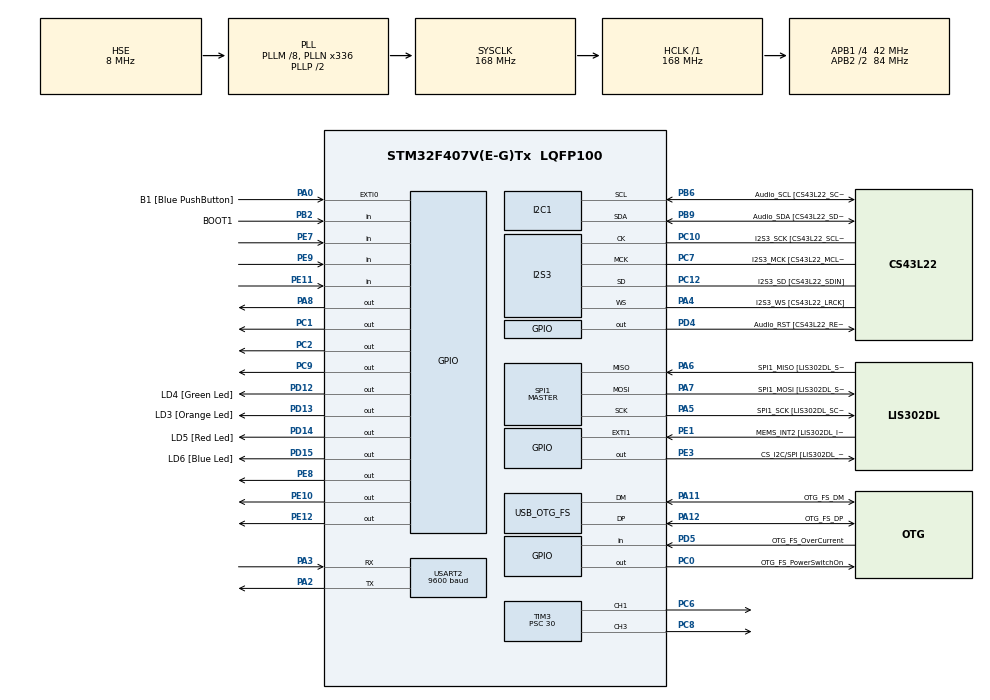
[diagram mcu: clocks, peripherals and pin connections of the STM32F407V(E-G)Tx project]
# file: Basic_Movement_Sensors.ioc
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I2S3.AudioFreq-Half_Duplex_Master=I2S_AUDIOFREQ_96K
I2S3.ErrorAudioFreq=-2.34 %
I2S3.ErrorAudioFreq-Half_Duplex_Master=0.8 %
I2S3.FullDuplexMode=I2S_FULLDUPLEXMODE_DISABLE
I2S3.Instance=SPI$Index
I2S3.RealAudioFreq=93.75 KHz
I2S3.RealAudioFreq-Half_Duplex_Master=96.774 KHz
I2S3.VirtualMode=I2S_MODE_MASTER
Mcu.Family=STM32F4
Mcu.Name=STM32F407V(E-G)Tx
Mcu.Package=LQFP100
NVIC.OTG_FS_IRQn=true\:0\:0\:false\:false\:true\:true\:true\:true
NVIC.PriorityGroup=NVIC_PRIORITYGROUP_0
NVIC.USART2_IRQn=true\:0\:0\:false\:false\:true\:true\:true\:true
PA0-WKUP.GPIO_Label=B1 [Blue PushButton]
PA0-WKUP.GPIO_ModeDefaultEXTI=GPIO_MODE_EVT_RISING
PA0-WKUP.GPIO_PuPd=GPIO_NOPULL
PA0-WKUP.Signal=GPXTI0
PA10.GPIO_Label=OTG_FS_ID
PA10.GPIO_Mode=GPIO_MODE_AF_PP
PA10.GPIO_PuPd=GPIO_NOPULL
PA10.GPIO_Speed=GPIO_SPEED_FREQ_LOW
PA10.Signal=USB_OTG_FS_ID
PA11.GPIO_Label=OTG_FS_DM
PA11.GPIO_Mode=GPIO_MODE_AF_PP
PA11.GPIO_PuPd=GPIO_NOPULL
PA11.GPIO_Speed=GPIO_SPEED_FREQ_LOW
PA11.Mode=Device_Only
PA11.Signal=USB_OTG_FS_DM
PA12.GPIO_Label=OTG_FS_DP
PA12.GPIO_Mode=GPIO_MODE_AF_PP
PA12.GPIO_PuPd=GPIO_NOPULL
PA12.GPIO_Speed=GPIO_SPEED_FREQ_LOW
PA12.Mode=Device_Only
PA12.Signal=USB_OTG_FS_DP
PA13.GPIO_Label=SWDIO
PA13.Mode=Serial_Wire
PA13.Signal=SYS_JTMS-SWDIO
PA14.GPIO_Label=SWCLK
PA14.Mode=Serial_Wire
PA14.Signal=SYS_JTCK-SWCLK
PA2.Mode=Asynchronous
PA2.Signal=USART2_TX
PA3.Mode=Asynchronous
PA3.Signal=USART2_RX
PA4.GPIO_Label=I2S3_WS [CS43L22_LRCK]
PA4.GPIO_Mode=GPIO_MODE_AF_PP
PA4.GPIO_PuPd=GPIO_NOPULL
PA4.GPIO_Speed=GPIO_SPEED_FREQ_LOW
PA4.Mode=Half_Duplex_Master
PA4.Signal=I2S3_WS
PA5.GPIO_Label=SPI1_SCK [LIS302DL_SCL/SPC]
PA5.GPIO_Mode=GPIO_MODE_AF_PP
PA5.GPIO_PuPd=GPIO_NOPULL
PA5.GPIO_Speed=GPIO_SPEED_FREQ_LOW
PA5.Mode=Full_Duplex_Master
PA5.Signal=SPI1_SCK
PA6.GPIO_Label=SPI1_MISO [LIS302DL_SDO]
PA6.GPIO_Mode=GPIO_MODE_AF_PP
PA6.GPIO_PuPd=GPIO_NOPULL
PA6.GPIO_Speed=GPIO_SPEED_FREQ_LOW
PA6.Mode=Full_Duplex_Master
PA6.Signal=SPI1_MISO
PA7.GPIO_Label=SPI1_MOSI [LIS302DL_SDA/SDI/SDO]
PA7.GPIO_Mode=GPIO_MODE_AF_PP
PA7.GPIO_PuPd=GPIO_NOPULL
PA7.GPIO_Speed=GPIO_SPEED_FREQ_LOW
PA7.Mode=Full_Duplex_Master
PA7.Signal=SPI1_MOSI
PA8.Signal=GPIO_Output
PA9.GPIO_Label=VBUS_FS
PA9.GPIO_Mode=GPIO_MODE_INPUT
PA9.GPIO_PuPd=GPIO_NOPULL
PA9.Signal=USB_OTG_FS_VBUS
PB10.GPIO_Label=CLK_IN [MP45DT02_CLK]
PB10.GPIO_Mode=GPIO_MODE_AF_PP
PB10.GPIO_PuPd=GPIO_NOPULL
PB10.GPIO_Speed=GPIO_SPEED_FREQ_LOW
PB10.Signal=I2S2_CK
PB2.GPIO_Label=BOOT1
PB2.GPIO_Mode=GPIO_MODE_INPUT
PB2.GPIO_PuPd=GPIO_NOPULL
PB2.Signal=GPIO_Input
PB3.GPIO_Label=SWO
PB3.Signal=SYS_JTDO-SWO
PB6.GPIO_Label=Audio_SCL [CS43L22_SCL]
PB6.GPIO_Mode=GPIO_MODE_AF_OD
PB6.GPIO_Pu=GPIO_PULLUP
PB6.GPIO_PuPd=GPIO_NOPULL
PB6.GPIO_Speed=GPIO_SPEED_FREQ_LOW
PB6.Mode=I2C
PB6.Signal=I2C1_SCL
PB9.GPIO_Label=Audio_SDA [CS43L22_SDA]
PB9.GPIO_Mode=GPIO_MODE_AF_OD
PB9.GPIO_Pu=GPIO_PULLUP
PB9.GPIO_PuPd=GPIO_NOPULL
PB9.GPIO_Speed=GPIO_SPEED_FREQ_LOW
PB9.Mode=I2C
PB9.Signal=I2C1_SDA
PC0.GPIO_Label=OTG_FS_PowerSwitchOn
PC0.GPIO_PuPd=GPIO_NOPULL
PC0.GPIO_Speed=GPIO_SPEED_FREQ_LOW
PC0.PinState=GPIO_PIN_SET
PC0.Signal=GPIO_Output
PC1.Signal=GPIO_Output
PC10.GPIO_Label=I2S3_SCK [CS43L22_SCLK]
PC10.GPIO_Mode=GPIO_MODE_AF_PP
PC10.GPIO_PuPd=GPIO_NOPULL
PC10.GPIO_Speed=GPIO_SPEED_FREQ_LOW
PC10.Mode=Half_Duplex_Master
PC10.Signal=I2S3_CK
PC12.GPIO_Label=I2S3_SD [CS43L22_SDIN]
PC12.GPIO_Mode=GPIO_MODE_AF_PP
PC12.GPIO_PuPd=GPIO_NOPULL
PC12.GPIO_Speed=GPIO_SPEED_FREQ_LOW
PC12.Mode=Half_Duplex_Master
PC12.Signal=I2S3_SD
PC14-OSC32_IN.GPIO_Label=PC14-OSC32_IN
PC14-OSC32_IN.Mode=LSE-External-Oscillator
PC14-OSC32_IN.Signal=RCC_OSC32_IN
PC15-OSC32_OUT.GPIO_Label=PC15-OSC32_OUT
PC15-OSC32_OUT.Mode=LSE-External-Oscillator
PC15-OSC32_OUT.Signal=RCC_OSC32_OUT
PC2.Signal=GPIO_Output
PC3.GPIO_Label=PDM_OUT [MP45DT02_DOUT]
PC3.GPIO_Mode=GPIO_MODE_AF_PP
PC3.GPIO_PuPd=GPIO_NOPULL
PC3.GPIO_Speed=GPIO_SPEED_FREQ_LOW
PC3.Signal=I2S2_SD
PC6.Signal=S_TIM3_CH1
PC7.GPIO_Label=I2S3_MCK [CS43L22_MCLK]
PC7.GPIO_Mode=GPIO_MODE_AF_PP
PC7.GPIO_PuPd=GPIO_NOPULL
PC7.GPIO_Speed=GPIO_SPEED_FREQ_LOW
PC7.Mode=Master_Clock_Activated
PC7.Signal=I2S3_MCK
PC8.Signal=S_TIM3_CH3
PC9.Signal=GPIO_Output
PD12.GPIO_Label=LD4 [Green Led]
PD12.GPIO_PuPd=GPIO_NOPULL
PD12.GPIO_Speed=GPIO_SPEED_FREQ_LOW
PD12.Signal=GPIO_Output
PD13.GPIO_Label=LD3 [Orange Led]
PD13.GPIO_PuPd=GPIO_NOPULL
PD13.GPIO_Speed=GPIO_SPEED_FREQ_LOW
PD13.Signal=GPIO_Output
PD14.GPIO_Label=LD5 [Red Led]
PD14.GPIO_PuPd=GPIO_NOPULL
PD14.GPIO_Speed=GPIO_SPEED_FREQ_LOW
PD14.Signal=GPIO_Output
PD15.GPIO_Label=LD6 [Blue Led]
PD15.GPIO_PuPd=GPIO_NOPULL
PD15.GPIO_Speed=GPIO_SPEED_FREQ_LOW
PD15.Signal=GPIO_Output
PD4.GPIO_Label=Audio_RST [CS43L22_RESET]
PD4.GPIO_PuPd=GPIO_NOPULL
PD4.GPIO_Speed=GPIO_SPEED_FREQ_LOW
PD4.Signal=GPIO_Output
PD5.GPIO_Label=OTG_FS_OverCurrent
PD5.GPIO_Mode=GPIO_MODE_INPUT
PD5.GPIO_PuPd=GPIO_NOPULL
PD5.Signal=GPIO_Input
PE1.GPIO_Label=MEMS_INT2 [LIS302DL_INT2]
PE1.GPIO_ModeDefaultEXTI=GPIO_MODE_EVT_RISING
PE1.GPIO_PuPd=GPIO_NOPULL
PE1.Signal=GPXTI1
PE10.Signal=GPIO_Output
PE11.Signal=GPIO_Input
PE12.Signal=GPIO_Output
PE3.GPIO_Label=CS_I2C/SPI [LIS302DL_CS_I2C/SPI]
PE3.GPIO_PuPd=GPIO_NOPULL
PE3.GPIO_Speed=GPIO_SPEED_FREQ_LOW
PE3.Signal=GPIO_Output
PE7.Signal=GPIO_Input
PE8.Signal=GPIO_Output
PE9.Signal=GPIO_Input
PH0-OSC_IN.GPIO_Label=PH0-OSC_IN
PH0-OSC_IN.Mode=HSE-External-Oscillator
PH0-OSC_IN.Signal=RCC_OSC_IN
PH1-OSC_OUT.GPIO_Label=PH1-OSC_OUT
PH1-OSC_OUT.Mode=HSE-External-Oscillator
PH1-OSC_OUT.Signal=RCC_OSC_OUT
ProjectManager.HeapSize=0x600
ProjectManager.StackSize=0x400
ProjectManager.TargetToolchain=STM32CubeIDE
RCC.48MHZClocksFreq_Value=48000000
RCC.AHBFreq_Value=168000000
RCC.APB1CLKDivider=RCC_HCLK_DIV4
RCC.APB1Freq_Value=42000000
RCC.APB1TimFreq_Value=84000000
RCC.APB2CLKDivider=RCC_HCLK_DIV2
RCC.APB2Freq_Value=84000000
RCC.APB2TimFreq_Value=168000000
RCC.CortexFreq_Value=168000000
RCC.HCLKFreq_Value=168000000
RCC.HSE_VALUE=8000000
RCC.HSI_VALUE=16000000
RCC.PLLM=8
RCC.PLLN=336
RCC.PLLQ=7
RCC.SYSCLKFreq_VALUE=168000000
RCC.SYSCLKSource=RCC_SYSCLKSOURCE_PLLCLK
RCC.VCOOutputFreq_Value=336000000
SH.S_TIM3_CH1.0=TIM3_CH1,PWM Generation1 CH1
SH.S_TIM3_CH3.0=TIM3_CH3,PWM Generation3 CH3
SPI1.BaudRatePrescaler-Full_Duplex_Master=SPI_BAUDRATEPRESCALER_2
SPI1.CalculateBaudRate-Full_Duplex_Master=42.0 MBits/s
SPI1.Direction=SPI_DIRECTION_2LINES
SPI1.Mode=SPI_MODE_MASTER
SPI1.Mode-Full_Duplex_Master=SPI_MODE_MASTER
SPI1.VirtualType=VM_MASTER
TIM1.Prescaler=83
TIM3.Channel-PWM\ Generation1\ CH1=TIM_CHANNEL_1
TIM3.Channel-PWM\ Generation3\ CH3=TIM_CHANNEL_3
TIM3.Period=999
TIM3.Prescaler=30
USART2.BaudRate=9600
USART2.VirtualMode=VM_ASYNC
USB_DEVICE.CLASS_NAME_FS=CDC
USB_DEVICE.VirtualMode-CDC_FS=Cdc
USB_DEVICE.VirtualModeFS=Cdc_FS
USB_OTG_FS.VirtualMode=Device_Only
VP_TIM1_VS_ClockSourceINT.Mode=Internal
VP_TIM3_VS_ClockSourceINT.Mode=Internal
VP_USB_DEVICE_VS_USB_DEVICE_CDC_FS.Mode=CDC_FS
board=STM32F407G-DISC1

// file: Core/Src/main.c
/* USER CODE BEGIN Header */
/**
  ******************************************************************************
  * @file           : main.c
  * @brief          : Main program body
  ******************************************************************************
  * @attention
  *
  * Copyright (c) 2025 STMicroelectronics.
  * All rights reserved.
  *
  * This software is licensed under terms that can be found in the LICENSE file
  * in the root directory of this software component.
  * If no LICENSE file comes with this software, it is provided AS-IS.
  *
  ******************************************************************************
  */
/* USER CODE END Header */
#include "main.h"
#include "usb_device.h"

/* USER CODE BEGIN Includes */
#include "usbd_cdc_if.h"
#include <stdio.h>
#include <stdint.h>
#include <string.h>
/* USER CODE END Includes */

/* USER CODE BEGIN PD */
#define labMaxLn 101
#define labMaxCol 101
/* USER CODE END PD */

I2C_HandleTypeDef hi2c1;

I2S_HandleTypeDef hi2s3;

SPI_HandleTypeDef hspi1;

TIM_HandleTypeDef htim1;
TIM_HandleTypeDef htim3;

UART_HandleTypeDef huart2;

/* USER CODE BEGIN PV */
uint8_t rxData;
uint8_t labirynthMatrix[labMaxLn][labMaxCol] = {0};
uint8_t currX = 50, currY = 50;
uint8_t currHeading = 0; //0 = north, 1 = east, 2 = south, 3 = west

#define TRIG_PIN_1 GPIO_PIN_8
#define TRIG_PORT_1 GPIOE
#define ECHO_PIN_1 GPIO_PIN_7
#define ECHO_PORT_1 GPIOE
#define TRIG_PIN_2 GPIO_PIN_10
#define TRIG_PORT_2 GPIOE
#define ECHO_PIN_2 GPIO_PIN_9
#define ECHO_PORT_2 GPIOE
#define TRIG_PIN_3 GPIO_PIN_12
#define TRIG_PORT_3 GPIOE
#define ECHO_PIN_3 GPIO_PIN_11
#define ECHO_PORT_3 GPIOE

uint32_t giveDistSensorFront(){
	uint32_t pMillis;
	uint32_t Value1_Sensor1 = 0;
	uint32_t Value2_Sensor1 = 0;
	uint16_t Distance_Sensor1  = 0; // cm

	HAL_GPIO_WritePin(TRIG_PORT_1, TRIG_PIN_1, GPIO_PIN_SET);  // pull the TRIG_1 pin HIGH
	__HAL_TIM_SET_COUNTER(&htim1, 0);
	while (__HAL_TIM_GET_COUNTER (&htim1) < 40);  // wait for 40 us
	HAL_GPIO_WritePin(TRIG_PORT_1, TRIG_PIN_1, GPIO_PIN_RESET);  // pull the TRIG_1 pin low
	pMillis = HAL_GetTick(); // used this to avoid infinite while loop  (for timeout)
	// wait for the echo pin to go high
	while (!(HAL_GPIO_ReadPin (ECHO_PORT_1, ECHO_PIN_1)) && pMillis + 100 >  HAL_GetTick());
	Value1_Sensor1 = __HAL_TIM_GET_COUNTER (&htim1);

	pMillis = HAL_GetTick(); // used this to avoid infinite while loop (for timeout)
	// wait for the echo pin to go low
	while ((HAL_GPIO_ReadPin (ECHO_PORT_1, ECHO_PIN_1)) && pMillis + 500 > HAL_GetTick());
	Value2_Sensor1 = __HAL_TIM_GET_COUNTER (&htim1);
	Distance_Sensor1 = (Value2_Sensor1 - Value1_Sensor1) * 0.034/2;

	return Distance_Sensor1;
}
uint32_t giveDistSensorLeft(){
	uint32_t pMillis;
	uint32_t Value1_Sensor2 = 0;
	uint32_t Value2_Sensor2 = 0;
	uint16_t Distance_Sensor2  = 0;  // cm

	HAL_GPIO_WritePin(TRIG_PORT_2, TRIG_PIN_2, GPIO_PIN_SET);  // pull the TRIG_1 pin HIGH
	__HAL_TIM_SET_COUNTER(&htim1, 0);
	while (__HAL_TIM_GET_COUNTER (&htim1) < 40);  // wait for 40 us
	HAL_GPIO_WritePin(TRIG_PORT_2, TRIG_PIN_2, GPIO_PIN_RESET);  // pull the TRIG_1 pin low
	pMillis = HAL_GetTick(); // used this to avoid infinite while loop  (for timeout)
	// wait for the echo pin to go high
	while (!(HAL_GPIO_ReadPin (ECHO_PORT_2, ECHO_PIN_2)) && pMillis + 50 >  HAL_GetTick());
	Value1_Sensor2 = __HAL_TIM_GET_COUNTER (&htim1);
	pMillis = HAL_GetTick(); // used this to avoid infinite while loop (for timeout)
	// wait for the echo pin to go low
	while ((HAL_GPIO_ReadPin (ECHO_PORT_2, ECHO_PIN_2)) && pMillis + 200 > HAL_GetTick());
	Value2_Sensor2 = __HAL_TIM_GET_COUNTER (&htim1);
	Distance_Sensor2 = (Value2_Sensor2 - Value1_Sensor2) * 0.034/2;

	return Distance_Sensor2;
}
uint32_t giveDistSensorRight(){
	uint32_t pMillis;
	uint32_t Value1_Sensor3 = 0;
	uint32_t Value2_Sensor3 = 0;
	uint16_t Distance_Sensor3  = 0;  // cm
	HAL_GPIO_WritePin(TRIG_PORT_3, TRIG_PIN_3, GPIO_PIN_SET);  // pull the TRIG_1 pin HIGH
	__HAL_TIM_SET_COUNTER(&htim1, 0);
	while (__HAL_TIM_GET_COUNTER (&htim1) < 40);  // wait for 40 us
	HAL_GPIO_WritePin(TRIG_PORT_3, TRIG_PIN_3, GPIO_PIN_RESET);  // pull the TRIG_1 pin low
	pMillis = HAL_GetTick(); // used this to avoid infinite while loop  (for timeout)
	// wait for the echo pin to go high
	while (!(HAL_GPIO_ReadPin (ECHO_PORT_3, ECHO_PIN_3)) && pMillis + 50 >  HAL_GetTick());
	Value1_Sensor3 = __HAL_TIM_GET_COUNTER (&htim1);

	pMillis = HAL_GetTick(); // used this to avoid infinite while loop (for timeout)
	// wait for the echo pin to go low
	while ((HAL_GPIO_ReadPin (ECHO_PORT_3, ECHO_PIN_3)) && pMillis + 200 > HAL_GetTick());
	Value2_Sensor3 = __HAL_TIM_GET_COUNTER (&htim1);
	Distance_Sensor3 = (Value2_Sensor3 - Value1_Sensor3) * 0.034/2;

	return Distance_Sensor3;
}
void printMatrix(){
	//HAL_UART_Transmit(&huart2, (uint8_t *)"Now printing file\r\n", 19, 100);
	uint8_t i, j;
	uint8_t str[labMaxCol + 2];

	for(i = 0; i < labMaxLn; i++){
		//HAL_UART_Transmit(&huart2, (uint8_t *)"here\r\n", 6, 100);
		for(j = 0; j < labMaxCol; j++)
			str[j] = labirynthMatrix[i][j] + '0';
		str[j] = '\n';
		str[j + 1] = '\0';
		//labirynthMatrix[i][labMaxCol - 1] = '\0';
		HAL_UART_Transmit(&huart2, (uint8_t *)str, strlen(str), 100);
//		for(j = 0; j < labMaxCol; j++){
//			HAL_UART_Transmit(&huart2, (uint8_t *)&(labirynthMatrix[i][j]), 1, 100);
//			fputc(labirynthMatrix[i][j], input);
//		}
//		HAL_UART_Transmit(&huart2, (uint8_t *)'\n', 1, 100);
//		fputc('\n', input);
		//HAL_Delay(10);
	}
}
void moveForward(){
	//right motor
	HAL_GPIO_WritePin(GPIOC, GPIO_PIN_1,GPIO_PIN_SET);
	HAL_GPIO_WritePin(GPIOC, GPIO_PIN_2,GPIO_PIN_RESET);

	//left motor
	HAL_GPIO_WritePin(GPIOA, GPIO_PIN_8,GPIO_PIN_SET);
	HAL_GPIO_WritePin(GPIOC, GPIO_PIN_9,GPIO_PIN_RESET);

	//right motor
	__HAL_TIM_SET_COMPARE(&htim3,TIM_CHANNEL_1, 490);
	//left motor
	__HAL_TIM_SET_COMPARE(&htim3,TIM_CHANNEL_3, 540);

	HAL_TIM_PWM_Start(&htim3,TIM_CHANNEL_1);
	HAL_TIM_PWM_Start(&htim3,TIM_CHANNEL_3);

	HAL_Delay(550);
}
void turnLeft(){
		//right motor
		HAL_GPIO_WritePin(GPIOC, GPIO_PIN_1,GPIO_PIN_SET);
		HAL_GPIO_WritePin(GPIOC, GPIO_PIN_2,GPIO_PIN_RESET);

		//left motor
		HAL_GPIO_WritePin(GPIOA, GPIO_PIN_8,GPIO_PIN_RESET);
		HAL_GPIO_WritePin(GPIOC, GPIO_PIN_9,GPIO_PIN_SET);

		//right motor
		__HAL_TIM_SET_COMPARE(&htim3,TIM_CHANNEL_1, 480);
		//left motor
		__HAL_TIM_SET_COMPARE(&htim3,TIM_CHANNEL_3, 570);

		HAL_TIM_PWM_Start(&htim3,TIM_CHANNEL_1);
		HAL_TIM_PWM_Start(&htim3,TIM_CHANNEL_3);

		HAL_Delay(750);
	}
void turnRight(){
		//right motor
		HAL_GPIO_WritePin(GPIOC, GPIO_PIN_1,GPIO_PIN_RESET);
		HAL_GPIO_WritePin(GPIOC, GPIO_PIN_2,GPIO_PIN_SET);

		//left motor
		HAL_GPIO_WritePin(GPIOA, GPIO_PIN_8,GPIO_PIN_SET);
		HAL_GPIO_WritePin(GPIOC, GPIO_PIN_9,GPIO_PIN_RESET);

		//right motor
		__HAL_TIM_SET_COMPARE(&htim3,TIM_CHANNEL_1, 450);
		//left motor
		__HAL_TIM_SET_COMPARE(&htim3,TIM_CHANNEL_3, 570);

		HAL_TIM_PWM_Start(&htim3,TIM_CHANNEL_1);
		HAL_TIM_PWM_Start(&htim3,TIM_CHANNEL_3);

		HAL_Delay(400);
	}
void moveStop(){
	HAL_GPIO_WritePin(GPIOC, GPIO_PIN_1,GPIO_PIN_RESET);
	HAL_GPIO_WritePin(GPIOC, GPIO_PIN_2,GPIO_PIN_RESET);
	HAL_GPIO_WritePin(GPIOA, GPIO_PIN_8,GPIO_PIN_RESET);
	HAL_GPIO_WritePin(GPIOC, GPIO_PIN_9,GPIO_PIN_RESET);

	HAL_Delay(100);
}
void moveBack(){
	//right motor
	HAL_GPIO_WritePin(GPIOC, GPIO_PIN_1,GPIO_PIN_RESET);
	HAL_GPIO_WritePin(GPIOC, GPIO_PIN_2,GPIO_PIN_SET);

	//left motor
	HAL_GPIO_WritePin(GPIOA, GPIO_PIN_8,GPIO_PIN_RESET);
	HAL_GPIO_WritePin(GPIOC, GPIO_PIN_9,GPIO_PIN_SET);

	//right motor
	__HAL_TIM_SET_COMPARE(&htim3,TIM_CHANNEL_1, 450);
	//left motor
	__HAL_TIM_SET_COMPARE(&htim3,TIM_CHANNEL_3, 570);

	HAL_TIM_PWM_Start(&htim3,TIM_CHANNEL_1);
	HAL_TIM_PWM_Start(&htim3,TIM_CHANNEL_3);

	HAL_Delay(300);
}
void labirynthTest(){
	uint32_t distFront, distLeft, distRight;

	distFront = giveDistSensorFront();
	distLeft = giveDistSensorLeft();
	distRight = giveDistSensorRight();

	HAL_Delay(250);

	//regula stangii
	if(distFront < 7){
		HAL_GPIO_WritePin(GPIOD, GPIO_PIN_15, GPIO_PIN_RESET);
		HAL_GPIO_WritePin(GPIOD, GPIO_PIN_14, GPIO_PIN_RESET);
		HAL_GPIO_WritePin(GPIOD, GPIO_PIN_13, GPIO_PIN_RESET);
		HAL_GPIO_WritePin(GPIOD, GPIO_PIN_12, GPIO_PIN_SET);
		moveBack();
	}
	else if(distRight > 26){ //daca poate, mereu merge la dreapta
		//culoar liber - merge acolo
		HAL_GPIO_WritePin(GPIOD, GPIO_PIN_15, GPIO_PIN_SET);
		HAL_GPIO_WritePin(GPIOD, GPIO_PIN_14, GPIO_PIN_RESET);
		HAL_GPIO_WritePin(GPIOD, GPIO_PIN_13, GPIO_PIN_RESET);
		HAL_GPIO_WritePin(GPIOD, GPIO_PIN_12, GPIO_PIN_RESET);
		turnRight();
		switch(currHeading){
			case 0:
				currHeading = 1;
				break;
			case 1:
				currHeading = 2;
				break;
			case 2:
				currHeading = 3;
				break;
			case 3:
				currHeading = 0;
				break;
			default:
				return;
		}
		HAL_Delay(200);
		moveForward();
		switch(currHeading){
			case 0:
				currX--;
				break;
			case 1:
				currY++;
				break;
			case 2:
				currX++;
				break;
			case 3:
				currY--;
				break;
			default:
				return;
		}
	}
	/*else if(distRight > 10){
		//dead end, marcheaza ca 'parcurs' si mergi mai departe
		turnRight();
		moveStop();
		//HAL_Delay(1000);
	}*/
	else if(distFront > 26){
		HAL_GPIO_WritePin(GPIOD, GPIO_PIN_15, GPIO_PIN_RESET);
		HAL_GPIO_WritePin(GPIOD, GPIO_PIN_14, GPIO_PIN_SET); //red LED
		HAL_GPIO_WritePin(GPIOD, GPIO_PIN_13, GPIO_PIN_RESET);
		HAL_GPIO_WritePin(GPIOD, GPIO_PIN_12, GPIO_PIN_RESET);
		moveForward();
		switch(currHeading){
			case 0:
				currX--;
				break;
			case 1:
				currY++;
				break;
			case 2:
				currX++;
				break;
			case 3:
				currY--;
				break;
			default:
				return;
		}
		//nu poate merge la dreapta
	}
	else if(distLeft > 26){
		HAL_GPIO_WritePin(GPIOD, GPIO_PIN_15, GPIO_PIN_RESET);
		HAL_GPIO_WritePin(GPIOD, GPIO_PIN_14, GPIO_PIN_RESET);
		HAL_GPIO_WritePin(GPIOD, GPIO_PIN_13, GPIO_PIN_SET);
		HAL_GPIO_WritePin(GPIOD, GPIO_PIN_12, GPIO_PIN_RESET);
		turnLeft();
		switch(currHeading){
			case 0:
				currHeading = 3;
				break;
			case 1:
				currHeading = 0;
				break;
			case 2:
				currHeading = 1;
				break;
			case 3:
				currHeading = 2;
				break;
			default:
				return;
		}
		HAL_Delay(200);
		moveForward();
		switch(currHeading){
			case 0:
				currX--;
				break;
			case 1:
				currY++;
				break;
			case 2:
				currX++;
				break;
			case 3:
				currY--;
				break;
			default:
				return;
		}
	}else{
		HAL_GPIO_WritePin(GPIOD, GPIO_PIN_15, GPIO_PIN_RESET);
		HAL_GPIO_WritePin(GPIOD, GPIO_PIN_14, GPIO_PIN_RESET);
		HAL_GPIO_WritePin(GPIOD, GPIO_PIN_13, GPIO_PIN_RESET);
		HAL_GPIO_WritePin(GPIOD, GPIO_PIN_12, GPIO_PIN_SET);
		moveBack();
		HAL_Delay(2000);
	}

	labirynthMatrix[currX][currY] = 1;
	moveStop();
	//printMatrix();
	HAL_Delay(50);
}

/* USER CODE END PV */

void SystemClock_Config(void);
static void MX_GPIO_Init(void);
static void MX_I2C1_Init(void);
static void MX_I2S3_Init(void);
static void MX_SPI1_Init(void);
static void MX_TIM1_Init(void);
static void MX_TIM3_Init(void);
static void MX_USART2_UART_Init(void);

int main(void)
{

  /* MCU Configuration--------------------------------------------------------*/

  /* Reset of all peripherals, Initializes the Flash interface and the Systick. */
  HAL_Init();

  /* Configure the system clock */
  SystemClock_Config();

  /* Initialize all configured peripherals */
  MX_GPIO_Init();
  MX_I2C1_Init();
  MX_I2S3_Init();
  MX_SPI1_Init();
  MX_TIM1_Init();
  MX_TIM3_Init();
  MX_USB_DEVICE_Init();
  MX_USART2_UART_Init();
  /* USER CODE BEGIN 2 */

  HAL_TIM_Base_Start(&htim1);
  HAL_GPIO_WritePin(TRIG_PORT_1, TRIG_PIN_1, GPIO_PIN_RESET);  // pull the TRIG pin for sensor 1 low
  HAL_GPIO_WritePin(TRIG_PORT_2, TRIG_PIN_2, GPIO_PIN_RESET);  // pull the TRIG pin for sensor 2 low
  HAL_GPIO_WritePin(TRIG_PORT_3, TRIG_PIN_3, GPIO_PIN_RESET);  // pull the TRIG pin for sensor 3 low
  HAL_UART_Receive_IT(&huart2, &rxData, 1); // Enabling interrupt receive for USART2  /* USER CODE END 2 */

  /* USER CODE END 2 */

  /* Infinite loop */
  /* USER CODE BEGIN WHILE */
  while (!rxData)
  {
    /* USER CODE END WHILE */

    /* USER CODE BEGIN 3 */

	  //HAL_GPIO_TogglePin(GPIOD, GPIO_PIN_12);
	HAL_Delay(500);

    labirynthTest();

//    if(dist1 <= 5){
//	 HAL_GPIO_WritePin(GPIOD, GPIO_PIN_12, GPIO_PIN_SET);
//	}
//	else{
//	 HAL_GPIO_WritePin(GPIOD, GPIO_PIN_12, GPIO_PIN_RESET);
//	}
//	if(dist2 <= 5){
//	 HAL_GPIO_WritePin(GPIOD, GPIO_PIN_13, GPIO_PIN_SET);
//	}
//	else{
//	 HAL_GPIO_WritePin(GPIOD, GPIO_PIN_13, GPIO_PIN_RESET);
//	}
//	if(dist3 <= 5){
//	 HAL_GPIO_WritePin(GPIOD, GPIO_PIN_14, GPIO_PIN_SET);
//	}
//	else{
//	 HAL_GPIO_WritePin(GPIOD, GPIO_PIN_14, GPIO_PIN_RESET);
//	}
//    turnLeft();
//    HAL_Delay(500);
//    moveStop();
//    HAL_Delay(500);
//    turnRight();
//    HAL_Delay(500);
//    moveForward();
//    moveStop();
//    HAL_Delay(3000);

//    if(dist1 > 5 && dist2 > 5 && dist3 > 5){ //cm
//    	//move robot forward
//    	HAL_GPIO_WritePin(GPIOD, GPIO_PIN_15, GPIO_PIN_SET);
//    	HAL_GPIO_WritePin(GPIOD, GPIO_PIN_14, GPIO_PIN_RESET);
//    	moveForward();
//    }
//    else{
//    	HAL_GPIO_WritePin(GPIOD, GPIO_PIN_15, GPIO_PIN_RESET);
//    	HAL_GPIO_WritePin(GPIOD, GPIO_PIN_14, GPIO_PIN_SET);
//    	//stop robot
//    	moveStop();
//    }
  }

  HAL_Delay(500);
  /* USER CODE END 3 */
}

void SystemClock_Config(void)
{
  RCC_OscInitTypeDef RCC_OscInitStruct = {0};
  RCC_ClkInitTypeDef RCC_ClkInitStruct = {0};

  /** Configure the main internal regulator output voltage
  */
  __HAL_RCC_PWR_CLK_ENABLE();
  __HAL_PWR_VOLTAGESCALING_CONFIG(PWR_REGULATOR_VOLTAGE_SCALE1);

  /** Initializes the RCC Oscillators according to the specified parameters
  * in the RCC_OscInitTypeDef structure.
  */
  RCC_OscInitStruct.OscillatorType = RCC_OSCILLATORTYPE_HSE;
  RCC_OscInitStruct.HSEState = RCC_HSE_ON;
  RCC_OscInitStruct.PLL.PLLState = RCC_PLL_ON;
  RCC_OscInitStruct.PLL.PLLSource = RCC_PLLSOURCE_HSE;
  RCC_OscInitStruct.PLL.PLLM = 8;
  RCC_OscInitStruct.PLL.PLLN = 336;
  RCC_OscInitStruct.PLL.PLLP = RCC_PLLP_DIV2;
  RCC_OscInitStruct.PLL.PLLQ = 7;
  if (HAL_RCC_OscConfig(&RCC_OscInitStruct) != HAL_OK)
  {
    Error_Handler();
  }

  /** Initializes the CPU, AHB and APB buses clocks
  */
  RCC_ClkInitStruct.ClockType = RCC_CLOCKTYPE_HCLK|RCC_CLOCKTYPE_SYSCLK
                              |RCC_CLOCKTYPE_PCLK1|RCC_CLOCKTYPE_PCLK2;
  RCC_ClkInitStruct.SYSCLKSource = RCC_SYSCLKSOURCE_PLLCLK;
  RCC_ClkInitStruct.AHBCLKDivider = RCC_SYSCLK_DIV1;
  RCC_ClkInitStruct.APB1CLKDivider = RCC_HCLK_DIV4;
  RCC_ClkInitStruct.APB2CLKDivider = RCC_HCLK_DIV2;

  if (HAL_RCC_ClockConfig(&RCC_ClkInitStruct, FLASH_LATENCY_5) != HAL_OK)
  {
    Error_Handler();
  }
}

static void MX_I2C1_Init(void)
{

  hi2c1.Instance = I2C1;
  hi2c1.Init.ClockSpeed = 100000;
  hi2c1.Init.DutyCycle = I2C_DUTYCYCLE_2;
  hi2c1.Init.OwnAddress1 = 0;
  hi2c1.Init.AddressingMode = I2C_ADDRESSINGMODE_7BIT;
  hi2c1.Init.DualAddressMode = I2C_DUALADDRESS_DISABLE;
  hi2c1.Init.OwnAddress2 = 0;
  hi2c1.Init.GeneralCallMode = I2C_GENERALCALL_DISABLE;
  hi2c1.Init.NoStretchMode = I2C_NOSTRETCH_DISABLE;
  if (HAL_I2C_Init(&hi2c1) != HAL_OK)
  {
    Error_Handler();
  }

}

static void MX_I2S3_Init(void)
{

  hi2s3.Instance = SPI3;
  hi2s3.Init.Mode = I2S_MODE_MASTER_TX;
  hi2s3.Init.Standard = I2S_STANDARD_PHILIPS;
  hi2s3.Init.DataFormat = I2S_DATAFORMAT_16B;
  hi2s3.Init.MCLKOutput = I2S_MCLKOUTPUT_ENABLE;
  hi2s3.Init.AudioFreq = I2S_AUDIOFREQ_96K;
  hi2s3.Init.CPOL = I2S_CPOL_LOW;
  hi2s3.Init.ClockSource = I2S_CLOCK_PLL;
  hi2s3.Init.FullDuplexMode = I2S_FULLDUPLEXMODE_DISABLE;
  if (HAL_I2S_Init(&hi2s3) != HAL_OK)
  {
    Error_Handler();
  }

}

static void MX_SPI1_Init(void)
{

  /* SPI1 parameter configuration*/
  hspi1.Instance = SPI1;
  hspi1.Init.Mode = SPI_MODE_MASTER;
  hspi1.Init.Direction = SPI_DIRECTION_2LINES;
  hspi1.Init.DataSize = SPI_DATASIZE_8BIT;
  hspi1.Init.CLKPolarity = SPI_POLARITY_LOW;
  hspi1.Init.CLKPhase = SPI_PHASE_1EDGE;
  hspi1.Init.NSS = SPI_NSS_SOFT;
  hspi1.Init.BaudRatePrescaler = SPI_BAUDRATEPRESCALER_2;
  hspi1.Init.FirstBit = SPI_FIRSTBIT_MSB;
  hspi1.Init.TIMode = SPI_TIMODE_DISABLE;
  hspi1.Init.CRCCalculation = SPI_CRCCALCULATION_DISABLE;
  hspi1.Init.CRCPolynomial = 10;
  if (HAL_SPI_Init(&hspi1) != HAL_OK)
  {
    Error_Handler();
  }

}

static void MX_TIM1_Init(void)
{

  TIM_ClockConfigTypeDef sClockSourceConfig = {0};
  TIM_MasterConfigTypeDef sMasterConfig = {0};

  htim1.Instance = TIM1;
  htim1.Init.Prescaler = 83;
  htim1.Init.CounterMode = TIM_COUNTERMODE_UP;
  htim1.Init.Period = 65535;
  htim1.Init.ClockDivision = TIM_CLOCKDIVISION_DIV1;
  htim1.Init.RepetitionCounter = 0;
  htim1.Init.AutoReloadPreload = TIM_AUTORELOAD_PRELOAD_DISABLE;
  if (HAL_TIM_Base_Init(&htim1) != HAL_OK)
  {
    Error_Handler();
  }
  sClockSourceConfig.ClockSource = TIM_CLOCKSOURCE_INTERNAL;
  if (HAL_TIM_ConfigClockSource(&htim1, &sClockSourceConfig) != HAL_OK)
  {
    Error_Handler();
  }
  sMasterConfig.MasterOutputTrigger = TIM_TRGO_RESET;
  sMasterConfig.MasterSlaveMode = TIM_MASTERSLAVEMODE_DISABLE;
  if (HAL_TIMEx_MasterConfigSynchronization(&htim1, &sMasterConfig) != HAL_OK)
  {
    Error_Handler();
  }

}

static void MX_TIM3_Init(void)
{

  TIM_ClockConfigTypeDef sClockSourceConfig = {0};
  TIM_MasterConfigTypeDef sMasterConfig = {0};
  TIM_OC_InitTypeDef sConfigOC = {0};

  htim3.Instance = TIM3;
  htim3.Init.Prescaler = 30;
  htim3.Init.CounterMode = TIM_COUNTERMODE_UP;
  htim3.Init.Period = 999;
  htim3.Init.ClockDivision = TIM_CLOCKDIVISION_DIV1;
  htim3.Init.AutoReloadPreload = TIM_AUTORELOAD_PRELOAD_DISABLE;
  if (HAL_TIM_Base_Init(&htim3) != HAL_OK)
  {
    Error_Handler();
  }
  sClockSourceConfig.ClockSource = TIM_CLOCKSOURCE_INTERNAL;
  if (HAL_TIM_ConfigClockSource(&htim3, &sClockSourceConfig) != HAL_OK)
  {
    Error_Handler();
  }
  if (HAL_TIM_PWM_Init(&htim3) != HAL_OK)
  {
    Error_Handler();
  }
  sMasterConfig.MasterOutputTrigger = TIM_TRGO_RESET;
  sMasterConfig.MasterSlaveMode = TIM_MASTERSLAVEMODE_DISABLE;
  if (HAL_TIMEx_MasterConfigSynchronization(&htim3, &sMasterConfig) != HAL_OK)
  {
    Error_Handler();
  }
  sConfigOC.OCMode = TIM_OCMODE_PWM1;
  sConfigOC.Pulse = 0;
  sConfigOC.OCPolarity = TIM_OCPOLARITY_HIGH;
  sConfigOC.OCFastMode = TIM_OCFAST_DISABLE;
  if (HAL_TIM_PWM_ConfigChannel(&htim3, &sConfigOC, TIM_CHANNEL_1) != HAL_OK)
  {
    Error_Handler();
  }
  if (HAL_TIM_PWM_ConfigChannel(&htim3, &sConfigOC, TIM_CHANNEL_3) != HAL_OK)
  {
    Error_Handler();
  }
  HAL_TIM_MspPostInit(&htim3);

}

static void MX_USART2_UART_Init(void)
{

  huart2.Instance = USART2;
  huart2.Init.BaudRate = 9600;
  huart2.Init.WordLength = UART_WORDLENGTH_8B;
  huart2.Init.StopBits = UART_STOPBITS_1;
  huart2.Init.Parity = UART_PARITY_NONE;
  huart2.Init.Mode = UART_MODE_TX_RX;
  huart2.Init.HwFlowCtl = UART_HWCONTROL_NONE;
  huart2.Init.OverSampling = UART_OVERSAMPLING_16;
  if (HAL_UART_Init(&huart2) != HAL_OK)
  {
    Error_Handler();
  }

}

static void MX_GPIO_Init(void)
{
  GPIO_InitTypeDef GPIO_InitStruct = {0};

  /* GPIO Ports Clock Enable */
  __HAL_RCC_GPIOE_CLK_ENABLE();
  __HAL_RCC_GPIOC_CLK_ENABLE();
  __HAL_RCC_GPIOH_CLK_ENABLE();
  __HAL_RCC_GPIOA_CLK_ENABLE();
  __HAL_RCC_GPIOB_CLK_ENABLE();
  __HAL_RCC_GPIOD_CLK_ENABLE();

  /*Configure GPIO pin Output Level */
  HAL_GPIO_WritePin(GPIOE, CS_I2C_SPI_Pin|GPIO_PIN_8|GPIO_PIN_10|GPIO_PIN_12, GPIO_PIN_RESET);

  /*Configure GPIO pin Output Level */
  HAL_GPIO_WritePin(OTG_FS_PowerSwitchOn_GPIO_Port, OTG_FS_PowerSwitchOn_Pin, GPIO_PIN_SET);

  /*Configure GPIO pin Output Level */
  HAL_GPIO_WritePin(GPIOC, GPIO_PIN_1|GPIO_PIN_2|GPIO_PIN_9, GPIO_PIN_RESET);

  /*Configure GPIO pin Output Level */
  HAL_GPIO_WritePin(GPIOD, LD4_Pin|LD3_Pin|LD5_Pin|LD6_Pin
                          |Audio_RST_Pin, GPIO_PIN_RESET);

  /*Configure GPIO pin Output Level */
  HAL_GPIO_WritePin(GPIOA, GPIO_PIN_8, GPIO_PIN_RESET);

  /*Configure GPIO pins : CS_I2C_SPI_Pin PE8 PE10 PE12 */
  GPIO_InitStruct.Pin = CS_I2C_SPI_Pin|GPIO_PIN_8|GPIO_PIN_10|GPIO_PIN_12;
  GPIO_InitStruct.Mode = GPIO_MODE_OUTPUT_PP;
  GPIO_InitStruct.Pull = GPIO_NOPULL;
  GPIO_InitStruct.Speed = GPIO_SPEED_FREQ_LOW;
  HAL_GPIO_Init(GPIOE, &GPIO_InitStruct);

  /*Configure GPIO pins : OTG_FS_PowerSwitchOn_Pin PC1 PC2 PC9 */
  GPIO_InitStruct.Pin = OTG_FS_PowerSwitchOn_Pin|GPIO_PIN_1|GPIO_PIN_2|GPIO_PIN_9;
  GPIO_InitStruct.Mode = GPIO_MODE_OUTPUT_PP;
  GPIO_InitStruct.Pull = GPIO_NOPULL;
  GPIO_InitStruct.Speed = GPIO_SPEED_FREQ_LOW;
  HAL_GPIO_Init(GPIOC, &GPIO_InitStruct);

  /*Configure GPIO pin : PDM_OUT_Pin */
  GPIO_InitStruct.Pin = PDM_OUT_Pin;
  GPIO_InitStruct.Mode = GPIO_MODE_AF_PP;
  GPIO_InitStruct.Pull = GPIO_NOPULL;
  GPIO_InitStruct.Speed = GPIO_SPEED_FREQ_LOW;
  GPIO_InitStruct.Alternate = GPIO_AF5_SPI2;
  HAL_GPIO_Init(PDM_OUT_GPIO_Port, &GPIO_InitStruct);

  /*Configure GPIO pin : B1_Pin */
  GPIO_InitStruct.Pin = B1_Pin;
  GPIO_InitStruct.Mode = GPIO_MODE_EVT_RISING;
  GPIO_InitStruct.Pull = GPIO_NOPULL;
  HAL_GPIO_Init(B1_GPIO_Port, &GPIO_InitStruct);

  /*Configure GPIO pin : BOOT1_Pin */
  GPIO_InitStruct.Pin = BOOT1_Pin;
  GPIO_InitStruct.Mode = GPIO_MODE_INPUT;
  GPIO_InitStruct.Pull = GPIO_NOPULL;
  HAL_GPIO_Init(BOOT1_GPIO_Port, &GPIO_InitStruct);

  /*Configure GPIO pins : PE7 PE9 PE11 */
  GPIO_InitStruct.Pin = GPIO_PIN_7|GPIO_PIN_9|GPIO_PIN_11;
  GPIO_InitStruct.Mode = GPIO_MODE_INPUT;
  GPIO_InitStruct.Pull = GPIO_NOPULL;
  HAL_GPIO_Init(GPIOE, &GPIO_InitStruct);

  /*Configure GPIO pin : CLK_IN_Pin */
  GPIO_InitStruct.Pin = CLK_IN_Pin;
  GPIO_InitStruct.Mode = GPIO_MODE_AF_PP;
  GPIO_InitStruct.Pull = GPIO_NOPULL;
  GPIO_InitStruct.Speed = GPIO_SPEED_FREQ_LOW;
  GPIO_InitStruct.Alternate = GPIO_AF5_SPI2;
  HAL_GPIO_Init(CLK_IN_GPIO_Port, &GPIO_InitStruct);

  /*Configure GPIO pins : LD4_Pin LD3_Pin LD5_Pin LD6_Pin
                           Audio_RST_Pin */
  GPIO_InitStruct.Pin = LD4_Pin|LD3_Pin|LD5_Pin|LD6_Pin
                          |Audio_RST_Pin;
  GPIO_InitStruct.Mode = GPIO_MODE_OUTPUT_PP;
  GPIO_InitStruct.Pull = GPIO_NOPULL;
  GPIO_InitStruct.Speed = GPIO_SPEED_FREQ_LOW;
  HAL_GPIO_Init(GPIOD, &GPIO_InitStruct);

  /*Configure GPIO pin : PA8 */
  GPIO_InitStruct.Pin = GPIO_PIN_8;
  GPIO_InitStruct.Mode = GPIO_MODE_OUTPUT_PP;
  GPIO_InitStruct.Pull = GPIO_NOPULL;
  GPIO_InitStruct.Speed = GPIO_SPEED_FREQ_LOW;
  HAL_GPIO_Init(GPIOA, &GPIO_InitStruct);

  /*Configure GPIO pin : OTG_FS_OverCurrent_Pin */
  GPIO_InitStruct.Pin = OTG_FS_OverCurrent_Pin;
  GPIO_InitStruct.Mode = GPIO_MODE_INPUT;
  GPIO_InitStruct.Pull = GPIO_NOPULL;
  HAL_GPIO_Init(OTG_FS_OverCurrent_GPIO_Port, &GPIO_InitStruct);

  /*Configure GPIO pin : MEMS_INT2_Pin */
  GPIO_InitStruct.Pin = MEMS_INT2_Pin;
  GPIO_InitStruct.Mode = GPIO_MODE_EVT_RISING;
  GPIO_InitStruct.Pull = GPIO_NOPULL;
  HAL_GPIO_Init(MEMS_INT2_GPIO_Port, &GPIO_InitStruct);

}

/* USER CODE BEGIN 4 */
void HAL_UART_RxCpltCallback(UART_HandleTypeDef *huart)
{

  if(huart->Instance == USART2)  // Changed to check for USART2
  {
    if(rxData == 78) // Ascii value of 'N' is 78 (N for NO)
    {
        HAL_GPIO_WritePin(GPIOD, GPIO_PIN_15, 0);
        printMatrix();
    }
    else if (rxData == 89) // Ascii value of 'Y' is 89 (Y for YES)
    {
        HAL_GPIO_WritePin(GPIOD, GPIO_PIN_15, 1);
        //STOP PROGRAM EXECUTION
    }
    HAL_UART_Receive_IT(&huart2, &rxData, 1); // Enabling interrupt receive again for USART2
  }
}
/* USER CODE END 4 */

void Error_Handler(void)
{
  __disable_irq();
  while (1)
  {
  }
}
